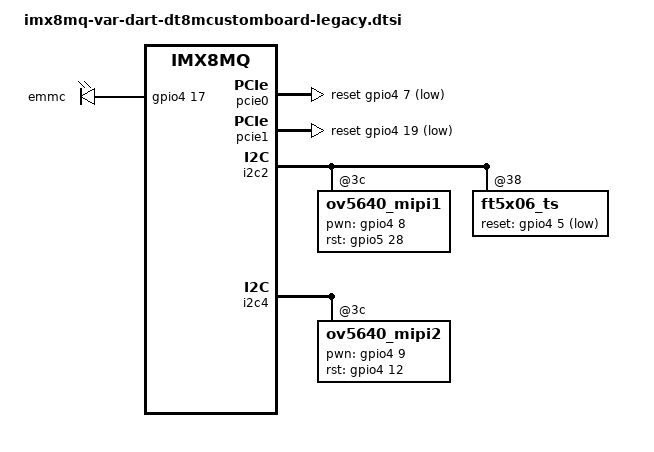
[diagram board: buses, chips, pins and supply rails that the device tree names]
// SPDX-License-Identifier: (GPL-2.0 OR MIT)
/*
 * Copyright 2017 NXP
 * Copyright (C) 2017-2018 Pengutronix, Lucas Stach <kernel@pengutronix.de>
 * Copyright 2018-2021 Variscite Ltd.
 */

#include "imx8mq-var-dart-dt8mcustomboard.dtsi"

/ {
	gpio-keys {
		pinctrl-names = "default";
		pinctrl-0 = <&pinctrl_gpio_keys>;

		up {
			gpios = <&gpio4 18 GPIO_ACTIVE_LOW>;
		};

		down {
			gpios = <&gpio4 15 GPIO_ACTIVE_LOW>;
		};

		home {
			gpios = <&gpio4 13 GPIO_ACTIVE_LOW>;
		};

		back {
			gpios = <&gpio4 6 GPIO_ACTIVE_LOW>;
		};
	};

	leds {
		emmc {
			gpios = <&gpio4 17 GPIO_ACTIVE_HIGH>;
		};
	};

	can0_osc: can0_osc {
		clock-frequency = <20000000>;
	};

	/delete-node/ extcon_usb1;
};

&can0 {
	spi-max-frequency = <10000000>;
	/delete-property/ microchip,rx-int-gpios;
};

&pcie0 {
	pinctrl-names = "default";
	pinctrl-0 = <&pinctrl_pcie0>;
	reset-gpio = <&gpio4 7 GPIO_ACTIVE_LOW>;
};

&pcie1 {
	pinctrl-names = "default";
	pinctrl-0 = <&pinctrl_pcie1>;
	reset-gpio = <&gpio4 19 GPIO_ACTIVE_LOW>;
};

&i2c2 {
	ov5640_mipi1: ov5640_mipi1@3c {
		pinctrl-names = "default";
		pinctrl-0 = <&pinctrl_csi1>;
		pwn-gpios = <&gpio4 8 GPIO_ACTIVE_HIGH>;
		rst-gpios = <&gpio5 28 GPIO_ACTIVE_HIGH>;
	};

	ft5x06_ts: ft5x06_ts@38 {
		reset-gpios = <&gpio4 5 GPIO_ACTIVE_LOW>;
	};
};

&i2c4 {
	ov5640_mipi2: ov5640_mipi2@3c {
		pinctrl-names = "default";
		pinctrl-0 = <&pinctrl_csi2>;
		pwn-gpios = <&gpio4 9 GPIO_ACTIVE_HIGH>;
		rst-gpios = <&gpio4 12 GPIO_ACTIVE_HIGH>;
	};

	/delete-node/ pca6408_1;
	/delete-node/ pca6408_2;
};

&iomuxc {
	pinctrl_can: cangrp {
		fsl,pins = <
			MX8MQ_IOMUXC_GPIO1_IO06_GPIO1_IO6		0xc0
		>;
	};

	pinctrl_captouch: captouchgrp {
		fsl,pins = <
			MX8MQ_IOMUXC_SAI1_RXD3_GPIO4_IO5 		0x46
			MX8MQ_IOMUXC_GPIO1_IO14_GPIO1_IO14		0x80
		>;
	};

	pinctrl_csi1: csi1grp {
		fsl,pins = <
			MX8MQ_IOMUXC_SAI1_RXD6_GPIO4_IO8		0x19
			MX8MQ_IOMUXC_UART4_RXD_GPIO5_IO28		0x19
		>;
	};

	pinctrl_csi2: csi2grp {
		fsl,pins = <
			MX8MQ_IOMUXC_SAI1_RXD7_GPIO4_IO9		0x19
			MX8MQ_IOMUXC_SAI1_TXD0_GPIO4_IO12		0x19
		>;
	};

	pinctrl_hdmi: hdmigrp {
		fsl,pins = <
			MX8MQ_IOMUXC_GPIO1_IO05_GPIO1_IO5		0xc1
		>;
	};

	pinctrl_gpio_keys: keygrp {
		fsl,pins = <
			MX8MQ_IOMUXC_SAI1_TXD3_GPIO4_IO15		0xc6
			MX8MQ_IOMUXC_SAI1_TXD6_GPIO4_IO18		0xc6
			MX8MQ_IOMUXC_SAI1_TXD1_GPIO4_IO13		0xc6
			MX8MQ_IOMUXC_SAI1_RXD4_GPIO4_IO6		0xc6
		>;
	};

	pinctrl_leds: ledgrp {
		fsl,pins = <
			MX8MQ_IOMUXC_SAI1_RXD1_GPIO4_IO3		0xc6
			MX8MQ_IOMUXC_SAI1_TXD2_GPIO4_IO14		0xc6
			MX8MQ_IOMUXC_SAI1_RXD2_GPIO4_IO4		0xc6
			MX8MQ_IOMUXC_SAI1_TXD5_GPIO4_IO17		0xc6
		>;
	};
	pinctrl_pcie0: pcie0grp {
		fsl,pins = <
			MX8MQ_IOMUXC_SAI1_RXD5_GPIO4_IO7		0x16
		>;
	};

	pinctrl_pcie1: pcie1grp {
		fsl,pins = <
			MX8MQ_IOMUXC_SAI1_TXD7_GPIO4_IO19		0x16
		>;
	};
};
